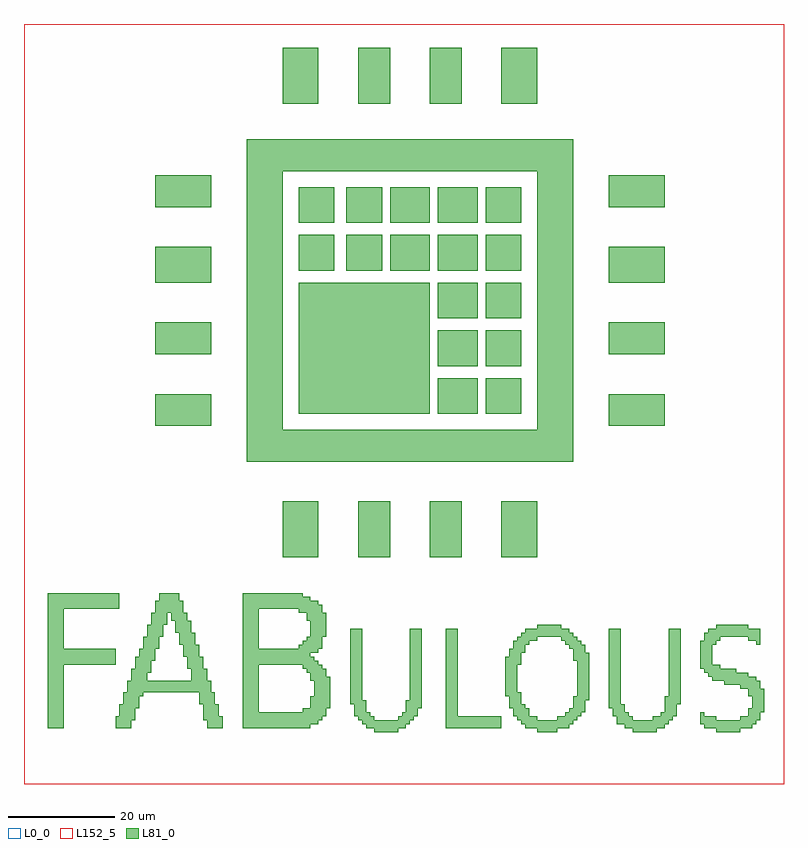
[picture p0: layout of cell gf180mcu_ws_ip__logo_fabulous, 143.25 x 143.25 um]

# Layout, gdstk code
import gdstk
lib = gdstk.Library(unit=1e-6, precision=1e-09)
def R(c, l, rs):  # rectangles x0, y0, x1, y1
    for r in rs: c.add(gdstk.rectangle(r[:2], r[2:], *l))
def A(c, l, x, y, w, h, nx, ny, dx, dy):  # array of equal rectangles
    R(c, l, [(x+i*dx, y+j*dy, x+i*dx+w, y+j*dy+h) for i in range(nx) for j in range(ny)])
def P(c, l, *ps):  # polygons
    for p in ps: c.add(gdstk.Polygon(p, *l))
L0_0 = (0, 0)
L81_0 = (81, 0)
L152_5 = (152, 5)

gf180mcu_ws_ip__logo_fab = lib.new_cell('gf180mcu_ws_ip__logo_fabulous')
R(gf180mcu_ws_ip__logo_fab, L0_0, [(0,0,143.25,143.25)])
A(gf180mcu_ws_ip__logo_fab, L81_0, 78, 69.75, 7.5, 6.75, 1, 5, 0, 9)
A(gf180mcu_ws_ip__logo_fab, L81_0, 87, 69.75, 6.75, 6.75, 1, 5, 0, 9)
R(gf180mcu_ws_ip__logo_fab, L81_0, [(48.75,42.75,55.5,53.25), (63,42.75,69,53.25), (76.5,42.75,82.5,53.25), (90,42.75,96.75,53.25), (24.75,67.5,35.25,73.5), (110.25,67.5,120.75,73.5), (51.75,69.75,76.5,94.5), (24.75,81,35.25,87), (110.25,81,120.75,87), (24.75,94.5,35.25,101.25), (110.25,94.5,120.75,101.25), (51.75,96.75,58.5,103.5), (60.75,96.75,67.5,103.5), (69,96.75,76.5,103.5), (51.75,105.75,58.5,112.5), (60.75,105.75,67.5,112.5), (69,105.75,76.5,112.5), (24.75,108.75,35.25,114.75), (110.25,108.75,120.75,114.75), (48.75,128.25,55.5,138.75), (63,128.25,69,138.75), (76.5,128.25,82.5,138.75), (90,128.25,96.75,138.75)])
P(gf180mcu_ws_ip__logo_fab, L81_0, [(66,9.75),(66,10.5),(64.5,10.5),(64.5,11.25),(63.75,11.25),(63.75,12),(63,12),(63,12.75),(62.25,12.75),(62.25,15),(61.5,15),(61.5,29.25),(63.75,29.25),(63.75,15.75),(64.5,15.75),(64.5,13.5),(65.25,13.5),(65.25,12.75),(66,12.75),(66,12),(70.5,12),(70.5,12.75),(71.25,12.75),(71.25,13.5),(72,13.5),(72,15.75),(72.75,15.75),(72.75,29.25),(75,29.25),(75,14.25),(74.25,14.25),(74.25,12.75),(73.5,12.75),(73.5,12),(72.75,12),(72.75,11.25),(72,11.25),(72,10.5),(70.5,10.5),(70.5,9.75)],
  [(79.5,10.5),(79.5,29.25),(81.75,29.25),(81.75,12.75),(90,12.75),(90,10.5)],
  [(114.75,9.75),(114.75,10.5),(113.25,10.5),(113.25,11.25),(111.75,11.25),(111.75,12.75),(111,12.75),(111,14.25),(110.25,14.25),(110.25,29.25),(112.5,29.25),(112.5,15),(113.25,15),(113.25,13.5),(114,13.5),(114,12.75),(114.75,12.75),(114.75,12),(118.5,12),(118.5,12.75),(120,12.75),(120,13.5),(120.75,13.5),(120.75,16.5),(121.5,16.5),(121.5,29.25),(123.75,29.25),(123.75,15),(123,15),(123,12.75),(122.25,12.75),(122.25,12),(121.5,12),(121.5,11.25),(120.75,11.25),(120.75,10.5),(119.25,10.5),(119.25,9.75)],
  [(96.75,9.75),(96.75,10.5),(94.5,10.5),(94.5,11.25),(93.75,11.25),(93.75,12),(93,12),(93,12.75),(92.25,12.75),(92.25,14.25),(91.5,14.25),(91.5,16.5),(90.75,16.5),(90.75,24),(91.5,24),(91.5,25.5),(92.25,25.5),(92.25,27),(93,27),(93,27.75),(96.75,27.75),(96.75,27),(95.25,27),(95.25,26.25),(94.5,26.25),(94.5,24.75),(93.75,24.75),(93.75,22.5),(93,22.5),(93,17.25),(93.75,17.25),(93.75,15),(94.5,15),(94.5,14.25),(95.25,14.25),(95.25,12.75),(96.75,12.75),(96.75,12),(100.5,12),(100.5,12.75),(102,12.75),(102,13.5),(102.75,13.5),(102.75,14.25),(103.5,14.25),(103.5,16.5),(104.25,16.5),(104.25,23.25),(103.5,23.25),(103.5,25.5),(102.75,25.5),(102.75,26.25),(102,26.25),(102,27),(101.25,27),(101.25,27.75),(93.75,27.75),(93.75,28.5),(94.5,28.5),(94.5,29.25),(96.75,29.25),(96.75,30),(101.25,30),(101.25,29.25),(102.75,29.25),(102.75,28.5),(103.5,28.5),(103.5,27.75),(104.25,27.75),(104.25,27),(105,27),(105,26.25),(105.75,26.25),(105.75,24.75),(106.5,24.75),(106.5,15.75),(105.75,15.75),(105.75,13.5),(105,13.5),(105,12.75),(104.25,12.75),(104.25,12),(103.5,12),(103.5,11.25),(102.75,11.25),(102.75,10.5),(100.5,10.5),(100.5,9.75)],
  [(130.5,9.75),(130.5,10.5),(128.25,10.5),(128.25,11.25),(127.5,11.25),(127.5,13.5),(128.25,13.5),(128.25,12.75),(130.5,12.75),(130.5,12),(135,12),(135,12.75),(136.5,12.75),(136.5,14.25),(137.25,14.25),(137.25,16.5),(136.5,16.5),(136.5,18),(135,18),(135,18.75),(132,18.75),(132,19.5),(129.75,19.5),(129.75,20.25),(129,20.25),(129,21),(128.25,21),(128.25,21.75),(127.5,21.75),(127.5,27),(128.25,27),(128.25,28.5),(129,28.5),(129,29.25),(130.5,29.25),(130.5,30),(136.5,30),(136.5,29.25),(138.75,29.25),(138.75,26.25),(138,26.25),(138,27),(136.5,27),(136.5,27.75),(131.25,27.75),(131.25,27),(130.5,27),(130.5,26.25),(129.75,26.25),(129.75,22.5),(131.25,22.5),(131.25,21.75),(134.25,21.75),(134.25,21),(136.5,21),(136.5,20.25),(138,20.25),(138,19.5),(138.75,19.5),(138.75,18),(139.5,18),(139.5,13.5),(138.75,13.5),(138.75,12),(138,12),(138,11.25),(137.25,11.25),(137.25,10.5),(135,10.5),(135,9.75)],
  [(4.5,10.5),(4.5,36),(18,36),(18,33),(7.5,33),(7.5,25.5),(17.25,25.5),(17.25,22.5),(7.5,22.5),(7.5,10.5)],
  [(17.25,10.5),(17.25,12.75),(18,12.75),(18,15),(18.75,15),(18.75,17.25),(19.5,17.25),(19.5,19.5),(20.25,19.5),(20.25,21.75),(21,21.75),(21,24),(21.75,24),(21.75,25.5),(22.5,25.5),(22.5,27.75),(23.25,27.75),(23.25,30),(24,30),(24,32.25),(27,32.25),(27,30),(26.25,30),(26.25,27.75),(25.5,27.75),(25.5,25.5),(24.75,25.5),(24.75,23.25),(24,23.25),(24,21),(23.25,21),(23.25,19.5),(31.5,19.5),(31.5,21.75),(30.75,21.75),(30.75,24),(30,24),(30,26.25),(29.25,26.25),(29.25,28.5),(28.5,28.5),(28.5,30.75),(27.75,30.75),(27.75,32.25),(24.75,32.25),(24.75,34.5),(25.5,34.5),(25.5,36),(29.25,36),(29.25,34.5),(30,34.5),(30,32.25),(30.75,32.25),(30.75,30.75),(31.5,30.75),(31.5,28.5),(32.25,28.5),(32.25,26.25),(33,26.25),(33,24),(33.75,24),(33.75,21.75),(34.5,21.75),(34.5,19.5),(35.25,19.5),(35.25,17.25),(36,17.25),(36,15),(36.75,15),(36.75,12.75),(37.5,12.75),(37.5,10.5),(34.5,10.5),(34.5,12),(33.75,12),(33.75,15),(33,15),(33,17.25),(22.5,17.25),(22.5,16.5),(21.75,16.5),(21.75,14.25),(21,14.25),(21,12),(20.25,12),(20.25,10.5)],
  [(41.25,10.5),(41.25,22.5),(44.25,22.5),(44.25,13.5),(52.5,13.5),(52.5,14.25),(54,14.25),(54,16.5),(54.75,16.5),(54.75,19.5),(54,19.5),(54,21),(53.25,21),(53.25,21.75),(52.5,21.75),(52.5,22.5),(41.25,22.5),(41.25,33),(44.25,33),(44.25,25.5),(51.75,25.5),(51.75,26.25),(52.5,26.25),(52.5,27),(53.25,27),(53.25,27.75),(54,27.75),(54,30.75),(53.25,30.75),(53.25,32.25),(51.75,32.25),(51.75,33),(41.25,33),(41.25,36),(52.5,36),(52.5,35.25),(54,35.25),(54,34.5),(55.5,34.5),(55.5,33.75),(56.25,33.75),(56.25,32.25),(57,32.25),(57,27.75),(56.25,27.75),(56.25,25.5),(55.5,25.5),(55.5,24.75),(54,24.75),(54,24),(54.75,24),(54.75,23.25),(55.5,23.25),(55.5,22.5),(56.25,22.5),(56.25,21.75),(57,21.75),(57,20.25),(57.75,20.25),(57.75,14.25),(57,14.25),(57,12.75),(56.25,12.75),(56.25,12),(55.5,12),(55.5,11.25),(54,11.25),(54,10.5)],
  [(42,60.75),(42,115.5),(48.75,115.5),(48.75,66.75),(96.75,66.75),(96.75,115.5),(42,115.5),(42,121.5),(103.5,121.5),(103.5,60.75)])
R(gf180mcu_ws_ip__logo_fab, L152_5, [(0,0,143.25,143.25)])

lib.write_gds('gf180mcu_ws_ip__logo_fabulous.gds')
